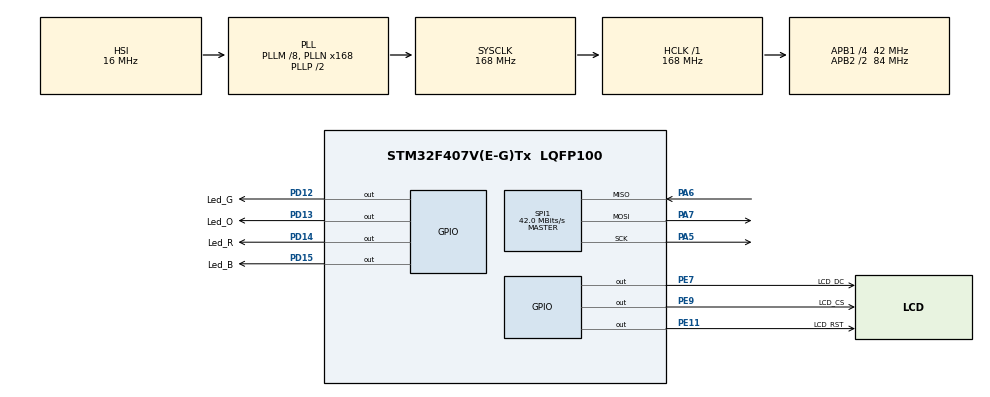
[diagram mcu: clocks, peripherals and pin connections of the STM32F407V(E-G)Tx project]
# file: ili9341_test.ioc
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Mcu.Family=STM32F4
Mcu.Name=STM32F407V(E-G)Tx
Mcu.Package=LQFP100
NVIC.PriorityGroup=NVIC_PRIORITYGROUP_4
NVIC.SPI1_IRQn=true\:0\:0\:false\:false\:true\:true\:true\:true
PA5.Mode=Full_Duplex_Master
PA5.Signal=SPI1_SCK
PA6.Mode=Full_Duplex_Master
PA6.Signal=SPI1_MISO
PA7.Mode=Full_Duplex_Master
PA7.Signal=SPI1_MOSI
PD12.GPIO_Label=Led_G
PD12.Signal=GPIO_Output
PD13.GPIO_Label=Led_O
PD13.Signal=GPIO_Output
PD14.GPIO_Label=Led_R
PD14.Signal=GPIO_Output
PD15.GPIO_Label=Led_B
PD15.Signal=GPIO_Output
PE11.GPIO_Label=LCD_RST
PE11.Signal=GPIO_Output
PE7.GPIO_Label=LCD_DC
PE7.Signal=GPIO_Output
PE9.GPIO_Label=LCD_CS
PE9.Signal=GPIO_Output
ProjectManager.HeapSize=0x200
ProjectManager.StackSize=0x400
ProjectManager.TargetToolchain=STM32CubeIDE
RCC.48MHZClocksFreq_Value=84000000
RCC.AHBFreq_Value=168000000
RCC.APB1CLKDivider=RCC_HCLK_DIV4
RCC.APB1Freq_Value=42000000
RCC.APB1TimFreq_Value=84000000
RCC.APB2CLKDivider=RCC_HCLK_DIV2
RCC.APB2Freq_Value=84000000
RCC.APB2TimFreq_Value=168000000
RCC.CortexFreq_Value=168000000
RCC.HCLKFreq_Value=168000000
RCC.HSE_VALUE=25000000
RCC.HSI_VALUE=16000000
RCC.LSE_VALUE=32768
RCC.PLLM=8
RCC.PLLN=168
RCC.SYSCLKFreq_VALUE=168000000
RCC.SYSCLKSource=RCC_SYSCLKSOURCE_PLLCLK
RCC.VCOOutputFreq_Value=336000000
SPI1.BaudRatePrescaler=SPI_BAUDRATEPRESCALER_2
SPI1.CalculateBaudRate=42.0 MBits/s
SPI1.Direction=SPI_DIRECTION_2LINES
SPI1.Mode=SPI_MODE_MASTER
SPI1.VirtualType=VM_MASTER
board=custom

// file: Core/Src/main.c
/* USER CODE BEGIN Header */
/**
  ******************************************************************************
  * @file           : main.c
  * @brief          : Main program body
  ******************************************************************************
  * @attention
  *
  * Copyright (c) 2023 STMicroelectronics.
  * All rights reserved.
  *
  * This software is licensed under terms that can be found in the LICENSE file
  * in the root directory of this software component.
  * If no LICENSE file comes with this software, it is provided AS-IS.
  *
  ******************************************************************************
  */
/* USER CODE END Header */
#include "main.h"

/* USER CODE BEGIN Includes */
#include "ili9341.h"
#include "lcd_painter.h"

/* USER CODE END Includes */

SPI_HandleTypeDef hspi1;

void SystemClock_Config(void);
static void MX_GPIO_Init(void);
static void MX_SPI1_Init(void);

int main(void)
{

  /* MCU Configuration--------------------------------------------------------*/

  /* Reset of all peripherals, Initializes the Flash interface and the Systick. */
  HAL_Init();

  /* Configure the system clock */
  SystemClock_Config();

  /* Initialize all configured peripherals */
  MX_GPIO_Init();
  MX_SPI1_Init();
  /* USER CODE BEGIN 2 */

  //https://www.youtube.com/watch?v=gd-BHZ5ZyPc

//  https://www.youtube.com/watch?v=OnnMruoWHwY

  	ILI9341_Init(&hspi1, LCD_CS_GPIO_Port, LCD_CS_Pin, LCD_DC_GPIO_Port, LCD_DC_Pin, LCD_RST_GPIO_Port, LCD_RST_Pin);
  	ILI9341_setRotation(4);
  	ILI9341_Fill(COLOR_NAVY);

  	ILI9341_Fill(COLOR_NAVY);

	ILI9341_Fill_Rect(0, 0, 50, 50, COLOR_RED);

	//ILI9341_drawChar(60, 60, 'a', COLOR_RED, COLOR_BLUE, 2);

  /* USER CODE END 2 */

  /* Infinite loop */
  while (1)
  {

    /* USER CODE BEGIN 3 */
	  HAL_GPIO_WritePin(GPIOD, Led_G_Pin, GPIO_PIN_SET);
	  ILI9341_Fill(COLOR_YELLOW);

	  char row[40+1];
	  sprintf(row, "qwertyuiopasdfghjklzxcvbnm");
	  LCD_Painter_DrawText(row, 0, 20, COLOR_BLACK, COLOR_YELLOW, LARGE);
	  LCD_Painter_DrawText(row, 0, 20+18, COLOR_BLACK, COLOR_YELLOW, MEDIUM);
	  LCD_Painter_DrawText(row, 0, 20+18+16, COLOR_BLACK, COLOR_YELLOW, SMALL);

	  LCD_Painter_EraseText(strlen(row), 0, 20, COLOR_YELLOW, LARGE);

	  sprintf(row, "0123456789");
	  LCD_Painter_DrawText(row, 0, 80, COLOR_BLACK, COLOR_YELLOW, LARGE);
	  LCD_Painter_DrawText(row, 0, 80+18, COLOR_BLACK, COLOR_YELLOW, MEDIUM);
	  LCD_Painter_DrawText(row, 0, 80+18+16, COLOR_BLACK, COLOR_YELLOW, SMALL);

	  //ILI9341_toggleInversion();
	  //HAL_Delay(500);
	  //HAL_GPIO_WritePin(GPIOD, Led_G_Pin, GPIO_PIN_RESET);
	  //ILI9341_Fill(COLOR_BLACK);
	  //ILI9341_toggleInversion();
	  HAL_Delay(500);
  }
  /* USER CODE END 3 */
}

void SystemClock_Config(void)
{
  RCC_OscInitTypeDef RCC_OscInitStruct = {0};
  RCC_ClkInitTypeDef RCC_ClkInitStruct = {0};

  /** Configure the main internal regulator output voltage
  */
  __HAL_RCC_PWR_CLK_ENABLE();
  __HAL_PWR_VOLTAGESCALING_CONFIG(PWR_REGULATOR_VOLTAGE_SCALE1);

  /** Initializes the RCC Oscillators according to the specified parameters
  * in the RCC_OscInitTypeDef structure.
  */
  RCC_OscInitStruct.OscillatorType = RCC_OSCILLATORTYPE_HSI;
  RCC_OscInitStruct.HSIState = RCC_HSI_ON;
  RCC_OscInitStruct.HSICalibrationValue = RCC_HSICALIBRATION_DEFAULT;
  RCC_OscInitStruct.PLL.PLLState = RCC_PLL_ON;
  RCC_OscInitStruct.PLL.PLLSource = RCC_PLLSOURCE_HSI;
  RCC_OscInitStruct.PLL.PLLM = 8;
  RCC_OscInitStruct.PLL.PLLN = 168;
  RCC_OscInitStruct.PLL.PLLP = RCC_PLLP_DIV2;
  RCC_OscInitStruct.PLL.PLLQ = 4;
  if (HAL_RCC_OscConfig(&RCC_OscInitStruct) != HAL_OK)
  {
    Error_Handler();
  }

  /** Initializes the CPU, AHB and APB buses clocks
  */
  RCC_ClkInitStruct.ClockType = RCC_CLOCKTYPE_HCLK|RCC_CLOCKTYPE_SYSCLK
                              |RCC_CLOCKTYPE_PCLK1|RCC_CLOCKTYPE_PCLK2;
  RCC_ClkInitStruct.SYSCLKSource = RCC_SYSCLKSOURCE_PLLCLK;
  RCC_ClkInitStruct.AHBCLKDivider = RCC_SYSCLK_DIV1;
  RCC_ClkInitStruct.APB1CLKDivider = RCC_HCLK_DIV4;
  RCC_ClkInitStruct.APB2CLKDivider = RCC_HCLK_DIV2;

  if (HAL_RCC_ClockConfig(&RCC_ClkInitStruct, FLASH_LATENCY_5) != HAL_OK)
  {
    Error_Handler();
  }
}

static void MX_SPI1_Init(void)
{

  /* SPI1 parameter configuration*/
  hspi1.Instance = SPI1;
  hspi1.Init.Mode = SPI_MODE_MASTER;
  hspi1.Init.Direction = SPI_DIRECTION_2LINES;
  hspi1.Init.DataSize = SPI_DATASIZE_8BIT;
  hspi1.Init.CLKPolarity = SPI_POLARITY_LOW;
  hspi1.Init.CLKPhase = SPI_PHASE_1EDGE;
  hspi1.Init.NSS = SPI_NSS_SOFT;
  hspi1.Init.BaudRatePrescaler = SPI_BAUDRATEPRESCALER_2;
  hspi1.Init.FirstBit = SPI_FIRSTBIT_MSB;
  hspi1.Init.TIMode = SPI_TIMODE_DISABLE;
  hspi1.Init.CRCCalculation = SPI_CRCCALCULATION_DISABLE;
  hspi1.Init.CRCPolynomial = 10;
  if (HAL_SPI_Init(&hspi1) != HAL_OK)
  {
    Error_Handler();
  }

}

static void MX_GPIO_Init(void)
{
  GPIO_InitTypeDef GPIO_InitStruct = {0};

  /* GPIO Ports Clock Enable */
  __HAL_RCC_GPIOA_CLK_ENABLE();
  __HAL_RCC_GPIOE_CLK_ENABLE();
  __HAL_RCC_GPIOD_CLK_ENABLE();

  /*Configure GPIO pin Output Level */
  HAL_GPIO_WritePin(GPIOE, LCD_DC_Pin|LCD_CS_Pin|LCD_RST_Pin, GPIO_PIN_RESET);

  /*Configure GPIO pin Output Level */
  HAL_GPIO_WritePin(GPIOD, Led_G_Pin|Led_O_Pin|Led_R_Pin|Led_B_Pin, GPIO_PIN_RESET);

  /*Configure GPIO pins : LCD_DC_Pin LCD_CS_Pin LCD_RST_Pin */
  GPIO_InitStruct.Pin = LCD_DC_Pin|LCD_CS_Pin|LCD_RST_Pin;
  GPIO_InitStruct.Mode = GPIO_MODE_OUTPUT_PP;
  GPIO_InitStruct.Pull = GPIO_NOPULL;
  GPIO_InitStruct.Speed = GPIO_SPEED_FREQ_LOW;
  HAL_GPIO_Init(GPIOE, &GPIO_InitStruct);

  /*Configure GPIO pins : Led_G_Pin Led_O_Pin Led_R_Pin Led_B_Pin */
  GPIO_InitStruct.Pin = Led_G_Pin|Led_O_Pin|Led_R_Pin|Led_B_Pin;
  GPIO_InitStruct.Mode = GPIO_MODE_OUTPUT_PP;
  GPIO_InitStruct.Pull = GPIO_NOPULL;
  GPIO_InitStruct.Speed = GPIO_SPEED_FREQ_LOW;
  HAL_GPIO_Init(GPIOD, &GPIO_InitStruct);

}

void Error_Handler(void)
{
  __disable_irq();
  while (1)
  {
  }
}
